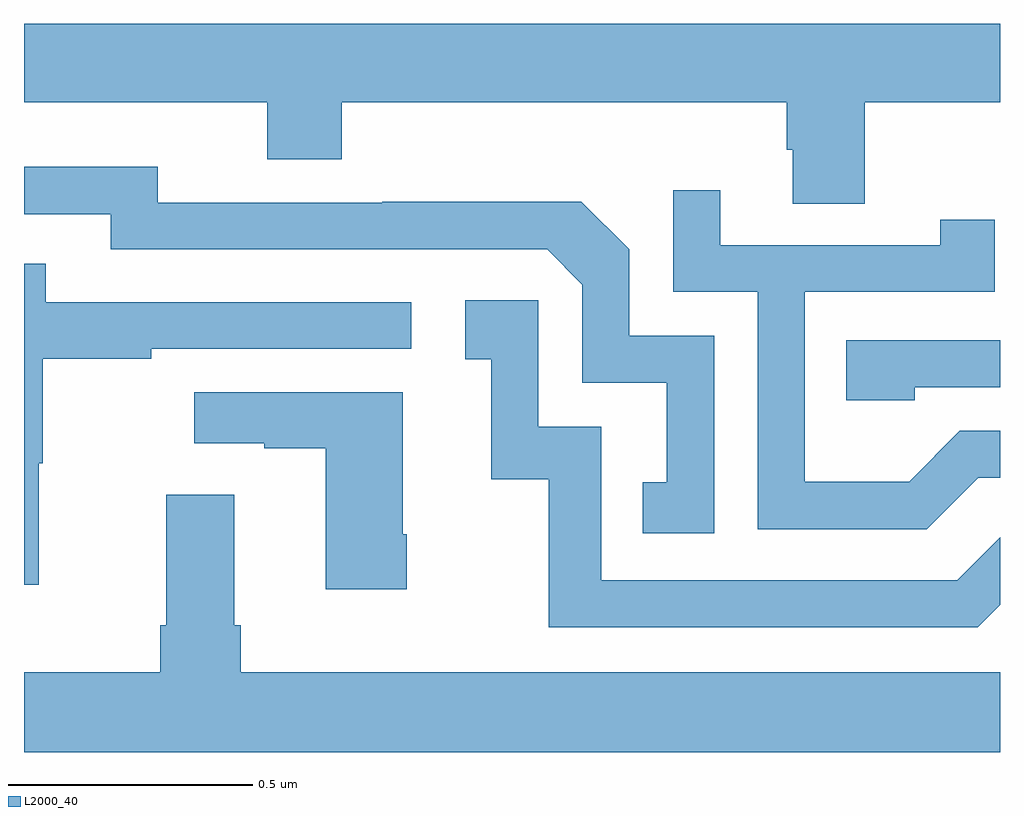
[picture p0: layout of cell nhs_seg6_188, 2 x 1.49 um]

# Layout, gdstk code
import gdstk
lib = gdstk.Library(unit=1e-6, precision=1e-09)
def P(c, l, *ps):  # polygons
    for p in ps: c.add(gdstk.Polygon(p, *l))
L2000_40 = (2000, 40)

nhs_seg6_188 = lib.new_cell('nhs_seg6_188')
P(nhs_seg6_188, L2000_40, [(114.723,943.34),(115,943.34),(115,943.5),(113,943.5),(113,943.34),(113.498,943.34),(113.498,943.223),(113.651,943.223),(113.651,943.34),(114.563,943.34),(114.563,943.242),(114.575,943.242),(114.575,943.132),(114.723,943.132)],
  [(114.414,942.861),(114.24,942.861),(114.24,943.038),(114.142,943.136),(113.734,943.136),(113.734,943.134),(113.274,943.134),(113.274,943.207),(113,943.207),(113,943.11),(113.178,943.11),(113.178,943.038),(114.072,943.038),(114.144,942.966),(114.144,942.765),(114.317,942.765),(114.317,942.561),(114.268,942.561),(114.268,942.456),(114.414,942.456)],
  [(114.955,942.57),(115,942.57),(115,942.666),(114.918,942.666),(114.814,942.562),(114.6,942.562),(114.6,942.951),(114.989,942.951),(114.989,943.099),(114.878,943.099),(114.878,943.047),(114.427,943.047),(114.427,943.159),(114.33,943.159),(114.33,942.951),(114.504,942.951),(114.504,942.465),(114.85,942.465)],
  [(113.03,942.6),(113.038,942.6),(113.038,942.814),(113.261,942.814),(113.261,942.834),(113.794,942.834),(113.794,942.93),(113.045,942.93),(113.045,943.009),(113,943.009),(113,942.351),(113.03,942.351)],
  [(115,942.31),(115,942.448),(114.912,942.36),(114.183,942.36),(114.183,942.675),(114.054,942.675),(114.054,942.934),(113.904,942.934),(113.904,942.813),(113.957,942.813),(113.957,942.567),(114.075,942.567),(114.075,942.264),(114.954,942.264)],
  [(114.825,942.756),(115,942.756),(115,942.852),(114.685,942.852),(114.685,942.729),(114.825,942.729)],
  [(113.784,942.454),(113.776,942.454),(113.776,942.745),(113.349,942.745),(113.349,942.641),(113.492,942.641),(113.492,942.631),(113.618,942.631),(113.618,942.342),(113.784,942.342)],
  [(115,942.172),(113.444,942.172),(113.444,942.268),(113.431,942.268),(113.431,942.535),(113.291,942.535),(113.291,942.268),(113.279,942.268),(113.279,942.172),(113,942.172),(113,942.008),(115,942.008)])

lib.write_gds('nhs_seg6_188.gds')
